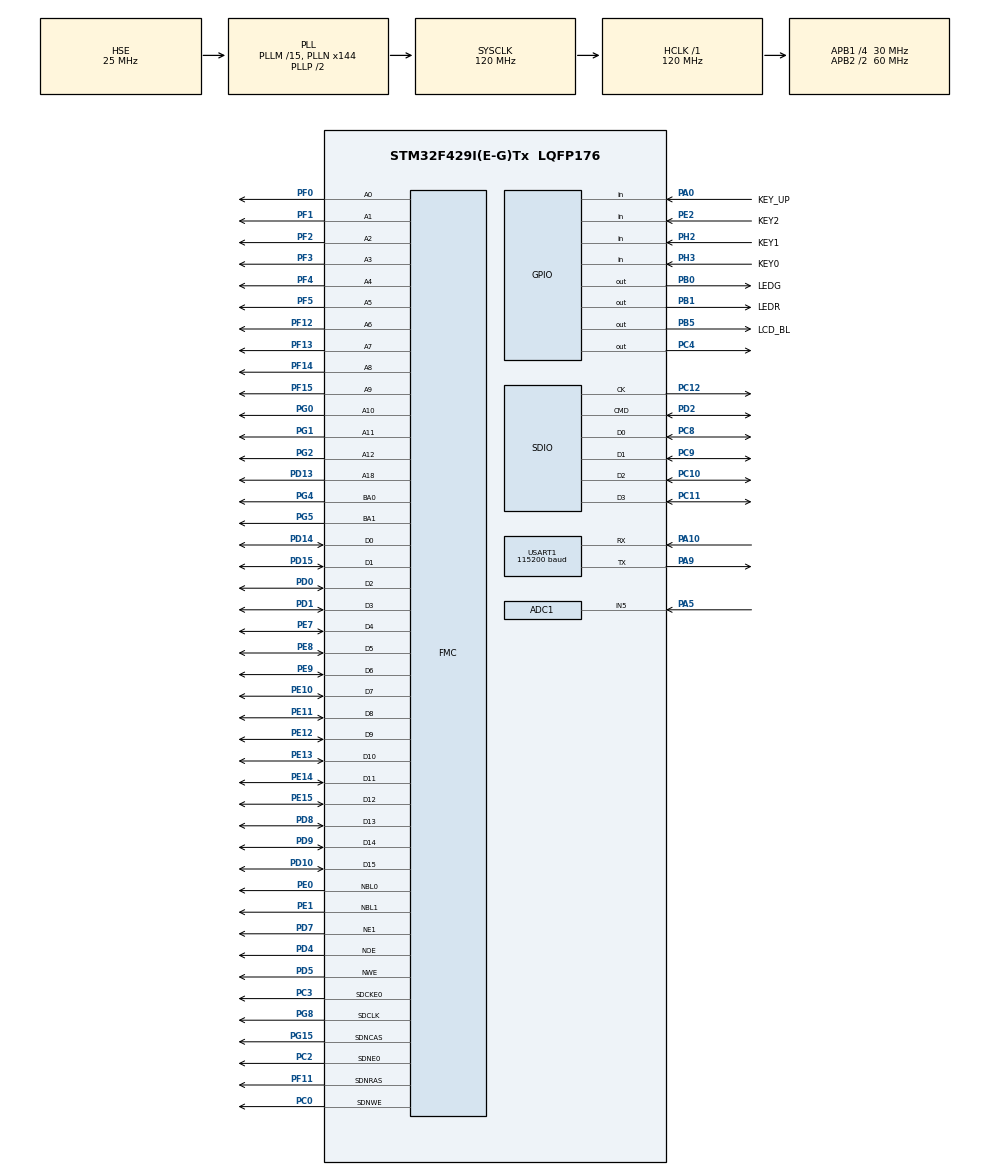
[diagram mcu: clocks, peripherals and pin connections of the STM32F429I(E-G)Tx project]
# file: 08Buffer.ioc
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ADC1.Channel-0\#ChannelRegularConversion=ADC_CHANNEL_5
ADC1.ExternalTrigConv=ADC_EXTERNALTRIGCONV_T3_TRGO
ADC1.NbrOfConversionFlag=1
ADC1.Rank-0\#ChannelRegularConversion=1
ADC1.SamplingTime-0\#ChannelRegularConversion=ADC_SAMPLETIME_15CYCLES
ADC1.master=1
DMA2D.AlphaModeForeground=DMA2D_REPLACE_ALPHA
DMA2D.ColorMode=DMA2D_OUTPUT_RGB565
DMA2D.InputColorModeBackground=DMA2D_INPUT_RGB565
DMA2D.InputColorModeForeground=DMA2D_INPUT_A4
DMA2D.Mode=DMA2D_M2M_BLEND
Dma.MEMTOMEM.0.Direction=DMA_MEMORY_TO_MEMORY
Dma.MEMTOMEM.0.FIFOMode=DMA_FIFOMODE_ENABLE
Dma.MEMTOMEM.0.FIFOThreshold=DMA_FIFO_THRESHOLD_FULL
Dma.MEMTOMEM.0.Instance=DMA2_Stream0
Dma.MEMTOMEM.0.MemBurst=DMA_MBURST_SINGLE
Dma.MEMTOMEM.0.MemDataAlignment=DMA_MDATAALIGN_HALFWORD
Dma.MEMTOMEM.0.MemInc=DMA_MINC_DISABLE
Dma.MEMTOMEM.0.Mode=DMA_NORMAL
Dma.MEMTOMEM.0.PeriphBurst=DMA_PBURST_SINGLE
Dma.MEMTOMEM.0.PeriphDataAlignment=DMA_PDATAALIGN_HALFWORD
Dma.MEMTOMEM.0.PeriphInc=DMA_PINC_ENABLE
Dma.MEMTOMEM.0.Priority=DMA_PRIORITY_LOW
Dma.Request0=MEMTOMEM
Dma.Request1=SDIO_RX
Dma.Request2=SDIO_TX
Dma.Request3=USART1_RX
Dma.SDIO_RX.1.Direction=DMA_PERIPH_TO_MEMORY
Dma.SDIO_RX.1.FIFOMode=DMA_FIFOMODE_ENABLE
Dma.SDIO_RX.1.FIFOThreshold=DMA_FIFO_THRESHOLD_FULL
Dma.SDIO_RX.1.Instance=DMA2_Stream3
Dma.SDIO_RX.1.MemBurst=DMA_MBURST_INC4
Dma.SDIO_RX.1.MemDataAlignment=DMA_MDATAALIGN_WORD
Dma.SDIO_RX.1.MemInc=DMA_MINC_ENABLE
Dma.SDIO_RX.1.Mode=DMA_PFCTRL
Dma.SDIO_RX.1.PeriphBurst=DMA_PBURST_INC4
Dma.SDIO_RX.1.PeriphDataAlignment=DMA_PDATAALIGN_WORD
Dma.SDIO_RX.1.PeriphInc=DMA_PINC_DISABLE
Dma.SDIO_RX.1.Priority=DMA_PRIORITY_HIGH
Dma.SDIO_TX.2.Direction=DMA_MEMORY_TO_PERIPH
Dma.SDIO_TX.2.FIFOMode=DMA_FIFOMODE_ENABLE
Dma.SDIO_TX.2.FIFOThreshold=DMA_FIFO_THRESHOLD_FULL
Dma.SDIO_TX.2.Instance=DMA2_Stream6
Dma.SDIO_TX.2.MemBurst=DMA_MBURST_INC4
Dma.SDIO_TX.2.MemDataAlignment=DMA_MDATAALIGN_WORD
Dma.SDIO_TX.2.MemInc=DMA_MINC_ENABLE
Dma.SDIO_TX.2.Mode=DMA_PFCTRL
Dma.SDIO_TX.2.PeriphBurst=DMA_PBURST_INC4
Dma.SDIO_TX.2.PeriphDataAlignment=DMA_PDATAALIGN_WORD
Dma.SDIO_TX.2.PeriphInc=DMA_PINC_DISABLE
Dma.SDIO_TX.2.Priority=DMA_PRIORITY_HIGH
Dma.USART1_RX.3.Direction=DMA_PERIPH_TO_MEMORY
Dma.USART1_RX.3.FIFOMode=DMA_FIFOMODE_DISABLE
Dma.USART1_RX.3.Instance=DMA2_Stream2
Dma.USART1_RX.3.MemDataAlignment=DMA_MDATAALIGN_BYTE
Dma.USART1_RX.3.MemInc=DMA_MINC_ENABLE
Dma.USART1_RX.3.Mode=DMA_NORMAL
Dma.USART1_RX.3.PeriphDataAlignment=DMA_PDATAALIGN_BYTE
Dma.USART1_RX.3.PeriphInc=DMA_PINC_DISABLE
Dma.USART1_RX.3.Priority=DMA_PRIORITY_LOW
FATFS._CODE_PAGE=936
FATFS._FS_EXFAT=1
FATFS._FS_LOCK=10
FATFS._FS_REENTRANT=1
FATFS._FS_TINY=1
FATFS._LFN_UNICODE=1
FATFS._MAX_SS=4096
FATFS._USE_LFN=3
FATFS._USE_MUTEX=1
FMC.CASLatency1=FMC_SDRAM_CAS_LATENCY_2
FMC.ColumnBitsNumber1=FMC_SDRAM_COLUMN_BITS_NUM_9
FMC.ExitSelfRefreshDelay1=7
FMC.LoadToActiveDelay1=2
FMC.RPDelay1=2
FMC.RPDelay2=2
FMC.ReadBurst1=FMC_SDRAM_RBURST_ENABLE
FMC.ReadBurst2=FMC_SDRAM_RBURST_ENABLE
FMC.RowCycleDelay1=6
FMC.RowCycleDelay2=6
FMC.SDClockPeriod1=FMC_SDRAM_CLOCK_PERIOD_2
FMC.SDClockPeriod2=FMC_SDRAM_CLOCK_PERIOD_2
FMC.SelfRefreshTime1=4
FMC.WriteRecoveryTime1=2
FREERTOS.Events01=xSystemInitEventGroup,Dynamic,NULL;xAppStartEventGroup,Dynamic,NULL
FREERTOS.Mutexes01=DMA2D_Mutex,Dynamic,NULL,Available
FREERTOS.Tasks01=Task_SYS_INIT,48,1024,AppTask_SYS_INIT,As weak,NULL,Dynamic,NULL,NULL;Task_showADC,8,256,App_Task_showADC,Default,NULL,Dynamic,NULL,NULL;Task_CheckIn,8,512,App_Task_CheckIn,Default,NULL,Dynamic,NULL,NULL;Task_Crypto,24,256,AppTask_Crypto,Default,NULL,Static,Task_CryptoBuffer,Task_CryptoControlBlock
FREERTOS.configGENERATE_RUN_TIME_STATS=1
FREERTOS.configUSE_STATS_FORMATTING_FUNCTIONS=1
MBEDTLS.MBEDTLS_X509_USE_C=0
Mcu.Family=STM32F4
Mcu.Name=STM32F429I(E-G)Tx
Mcu.Package=LQFP176
NVIC.ADC_IRQn=true\:5\:0\:false\:false\:true\:true\:true\:true\:true
NVIC.DMA2D_IRQn=true\:5\:0\:false\:false\:true\:true\:true\:true\:true
NVIC.DMA2_Stream0_IRQn=true\:5\:0\:false\:false\:true\:true\:true\:true\:true
NVIC.DMA2_Stream2_IRQn=true\:5\:0\:false\:false\:true\:true\:false\:true\:true
NVIC.DMA2_Stream3_IRQn=true\:5\:0\:true\:false\:true\:true\:false\:true\:true
NVIC.DMA2_Stream6_IRQn=true\:5\:0\:false\:false\:true\:true\:false\:true\:true
NVIC.PriorityGroup=NVIC_PRIORITYGROUP_4
NVIC.RTC_WKUP_IRQn=true\:5\:0\:false\:false\:true\:true\:true\:true\:true
NVIC.SDIO_IRQn=true\:5\:0\:false\:false\:true\:true\:true\:true\:true
NVIC.TIM6_DAC_IRQn=true\:4\:0\:true\:false\:true\:false\:false\:true\:true
NVIC.TimeBase=TIM6_DAC_IRQn
NVIC.TimeBaseIP=TIM6
NVIC.USART1_IRQn=true\:5\:0\:false\:false\:true\:true\:true\:true\:true
PA0/WKUP.GPIO_Label=KEY_UP
PA0/WKUP.Signal=GPIO_Input
PA10.Mode=Asynchronous
PA10.Signal=USART1_RX
PA13.Mode=Serial_Wire
PA13.Signal=SYS_JTMS-SWDIO
PA14.Mode=Serial_Wire
PA14.Signal=SYS_JTCK-SWCLK
PA5.Signal=ADCx_IN5
PA9.Mode=Asynchronous
PA9.Signal=USART1_TX
PB0.GPIO_Label=LEDG
PB0.Signal=GPIO_Output
PB1.GPIO_Label=LEDR
PB1.PinState=GPIO_PIN_SET
PB1.Signal=GPIO_Output
PB5.GPIO_Label=LCD_BL
PB5.GPIO_Speed=GPIO_SPEED_FREQ_HIGH
PB5.PinState=GPIO_PIN_SET
PB5.Signal=GPIO_Output
PC0.Signal=FMC_SDNWE
PC10.Mode=SD_4_bits_Wide_bus
PC10.Signal=SDIO_D2
PC11.Mode=SD_4_bits_Wide_bus
PC11.Signal=SDIO_D3
PC12.Mode=SD_4_bits_Wide_bus
PC12.Signal=SDIO_CK
PC14/OSC32_IN.Mode=LSE-External-Oscillator
PC14/OSC32_IN.Signal=RCC_OSC32_IN
PC15/OSC32_OUT.Mode=LSE-External-Oscillator
PC15/OSC32_OUT.Signal=RCC_OSC32_OUT
PC2.Mode=SdramChipSelect1_1
PC2.Signal=FMC_SDNE0
PC3.Mode=SdramChipSelect1_1
PC3.Signal=FMC_SDCKE0
PC4.Signal=GPIO_Output
PC8.Mode=SD_4_bits_Wide_bus
PC8.Signal=SDIO_D0
PC9.Mode=SD_4_bits_Wide_bus
PC9.Signal=SDIO_D1
PD0.Signal=FMC_D2_DA2
PD1.Signal=FMC_D3_DA3
PD10.Signal=FMC_D15_DA15
PD13.Signal=FMC_A18
PD14.Signal=FMC_D0_DA0
PD15.Signal=FMC_D1_DA1
PD2.Mode=SD_4_bits_Wide_bus
PD2.Signal=SDIO_CMD
PD4.Signal=FMC_NOE
PD5.Signal=FMC_NWE
PD7.Mode=NorPsramChipSelect1_1
PD7.Signal=FMC_NE1
PD8.Signal=FMC_D13_DA13
PD9.Signal=FMC_D14_DA14
PE0.Signal=FMC_NBL0
PE1.Signal=FMC_NBL1
PE10.Signal=FMC_D7_DA7
PE11.Signal=FMC_D8_DA8
PE12.Signal=FMC_D9_DA9
PE13.Signal=FMC_D10_DA10
PE14.Signal=FMC_D11_DA11
PE15.Signal=FMC_D12_DA12
PE2.GPIO_Label=KEY2
PE2.Signal=GPIO_Input
PE7.Signal=FMC_D4_DA4
PE8.Signal=FMC_D5_DA5
PE9.Signal=FMC_D6_DA6
PF0.Signal=FMC_A0
PF1.Signal=FMC_A1
PF11.Signal=FMC_SDNRAS
PF12.Signal=FMC_A6
PF13.Signal=FMC_A7
PF14.Signal=FMC_A8
PF15.Signal=FMC_A9
PF2.Signal=FMC_A2
PF3.Signal=FMC_A3
PF4.Signal=FMC_A4
PF5.Signal=FMC_A5
PG0.Signal=FMC_A10
PG1.Signal=FMC_A11
PG15.Signal=FMC_SDNCAS
PG2.Signal=FMC_A12
PG4.Signal=FMC_A14_BA0
PG5.Signal=FMC_A15_BA1
PG8.Signal=FMC_SDCLK
PH0/OSC_IN.Mode=HSE-External-Oscillator
PH0/OSC_IN.Signal=RCC_OSC_IN
PH1/OSC_OUT.Mode=HSE-External-Oscillator
PH1/OSC_OUT.Signal=RCC_OSC_OUT
PH2.GPIO_Label=KEY1
PH2.Signal=GPIO_Input
PH3.GPIO_Label=KEY0
PH3.Signal=GPIO_Input
ProjectManager.HeapSize=0x8000
ProjectManager.StackSize=0x2000
ProjectManager.TargetToolchain=CMake
RCC.48MHZClocksFreq_Value=48000000
RCC.AHBFreq_Value=120000000
RCC.APB1CLKDivider=RCC_HCLK_DIV4
RCC.APB1Freq_Value=30000000
RCC.APB1TimFreq_Value=60000000
RCC.APB2CLKDivider=RCC_HCLK_DIV2
RCC.APB2Freq_Value=60000000
RCC.APB2TimFreq_Value=120000000
RCC.CortexFreq_Value=120000000
RCC.HCLKFreq_Value=120000000
RCC.HSE_VALUE=25000000
RCC.HSI_VALUE=16000000
RCC.PLLM=15
RCC.PLLN=144
RCC.PLLQ=5
RCC.PLLSAIN=100
RCC.PLLSourceVirtual=RCC_PLLSOURCE_HSE
RCC.RCC_RTC_Clock_Source=RCC_RTCCLKSOURCE_LSE
RCC.RCC_RTC_Clock_SourceVirtual=RCC_RTCCLKSOURCE_LSE
RCC.SYSCLKFreq_VALUE=120000000
RCC.SYSCLKSource=RCC_SYSCLKSOURCE_PLLCLK
RCC.VCOOutputFreq_Value=240000000
RTC.WakeUpClock=RTC_WAKEUPCLOCK_CK_SPRE_16BITS
RTC.WakeUpCounter=0
SDIO.ClockDiv=4
SH.ADCx_IN5.0=ADC1_IN5,IN5
SH.FMC_A0.0=FMC_A0,13b-sda1
SH.FMC_A1.0=FMC_A1,13b-sda1
SH.FMC_A10.0=FMC_A10,13b-sda1
SH.FMC_A11.0=FMC_A11,13b-sda1
SH.FMC_A12.0=FMC_A12,13b-sda1
SH.FMC_A14_BA0.0=FMC_BA0,FourSdramBanks1
SH.FMC_A15_BA1.0=FMC_BA1,FourSdramBanks1
SH.FMC_A18.0=FMC_A18,A18_1
SH.FMC_A2.0=FMC_A2,13b-sda1
SH.FMC_A3.0=FMC_A3,13b-sda1
SH.FMC_A4.0=FMC_A4,13b-sda1
SH.FMC_A5.0=FMC_A5,13b-sda1
SH.FMC_A6.0=FMC_A6,13b-sda1
SH.FMC_A7.0=FMC_A7,13b-sda1
SH.FMC_A8.0=FMC_A8,13b-sda1
SH.FMC_A9.0=FMC_A9,13b-sda1
SH.FMC_D0_DA0.0=FMC_D0,16b-d1
SH.FMC_D0_DA0.1=FMC_D0,sd-16b-d1
SH.FMC_D10_DA10.0=FMC_D10,16b-d1
SH.FMC_D10_DA10.1=FMC_D10,sd-16b-d1
SH.FMC_D11_DA11.0=FMC_D11,16b-d1
SH.FMC_D11_DA11.1=FMC_D11,sd-16b-d1
SH.FMC_D12_DA12.0=FMC_D12,16b-d1
SH.FMC_D12_DA12.1=FMC_D12,sd-16b-d1
SH.FMC_D13_DA13.0=FMC_D13,16b-d1
SH.FMC_D13_DA13.1=FMC_D13,sd-16b-d1
SH.FMC_D14_DA14.0=FMC_D14,16b-d1
SH.FMC_D14_DA14.1=FMC_D14,sd-16b-d1
SH.FMC_D15_DA15.0=FMC_D15,16b-d1
SH.FMC_D15_DA15.1=FMC_D15,sd-16b-d1
SH.FMC_D1_DA1.0=FMC_D1,16b-d1
SH.FMC_D1_DA1.1=FMC_D1,sd-16b-d1
SH.FMC_D2_DA2.0=FMC_D2,16b-d1
SH.FMC_D2_DA2.1=FMC_D2,sd-16b-d1
SH.FMC_D3_DA3.0=FMC_D3,16b-d1
SH.FMC_D3_DA3.1=FMC_D3,sd-16b-d1
SH.FMC_D4_DA4.0=FMC_D4,16b-d1
SH.FMC_D4_DA4.1=FMC_D4,sd-16b-d1
SH.FMC_D5_DA5.0=FMC_D5,16b-d1
SH.FMC_D5_DA5.1=FMC_D5,sd-16b-d1
SH.FMC_D6_DA6.0=FMC_D6,16b-d1
SH.FMC_D6_DA6.1=FMC_D6,sd-16b-d1
SH.FMC_D7_DA7.0=FMC_D7,16b-d1
SH.FMC_D7_DA7.1=FMC_D7,sd-16b-d1
SH.FMC_D8_DA8.0=FMC_D8,16b-d1
SH.FMC_D8_DA8.1=FMC_D8,sd-16b-d1
SH.FMC_D9_DA9.0=FMC_D9,16b-d1
SH.FMC_D9_DA9.1=FMC_D9,sd-16b-d1
SH.FMC_NBL0.0=FMC_NBL0,Sd2ByteEnable1
SH.FMC_NBL1.0=FMC_NBL1,Sd2ByteEnable1
SH.FMC_NOE.0=FMC_NOE,Lcd1
SH.FMC_NWE.0=FMC_NWE,Lcd1
SH.FMC_SDCLK.0=FMC_SDCLK,13b-sda1
SH.FMC_SDNCAS.0=FMC_SDNCAS,13b-sda1
SH.FMC_SDNRAS.0=FMC_SDNRAS,13b-sda1
SH.FMC_SDNWE.0=FMC_SDNWE,13b-sda1
TIM3.Period=5000-1
TIM3.Prescaler=6000-1
TIM3.TIM_MasterOutputTrigger=TIM_TRGO_UPDATE
USART1.BaudRate=115200
USART1.VirtualMode=VM_ASYNC
VP_DMA2D_VS_DMA2D.Mode=DMA2D_Activate
VP_FATFS_VS_SDIO.Mode=SDIO
VP_FREERTOS_VS_CMSIS_V2.Mode=CMSIS_V2
VP_MBEDTLS_VS_MBEDTLS.Mode=Enabled
VP_RNG_VS_RNG.Mode=RNG_Activate
VP_RTC_VS_RTC_Activate.Mode=RTC_Enabled
VP_RTC_VS_RTC_WakeUp_intern.Mode=WakeUp
VP_SYS_VS_tim6.Mode=TIM6
VP_TIM3_VS_ClockSourceINT.Mode=Internal
board=custom

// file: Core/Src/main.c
/* USER CODE BEGIN Header */
/**
  ******************************************************************************
  * @file           : main.c
  * @brief          : Main program body
  ******************************************************************************
  * @attention
  *
  * Copyright (c) 2026 STMicroelectronics.
  * All rights reserved.
  *
  * This software is licensed under terms that can be found in the LICENSE file
  * in the root directory of this software component.
  * If no LICENSE file comes with this software, it is provided AS-IS.
  *
  ******************************************************************************
  */
/* USER CODE END Header */
#include "main.h"
#include "cmsis_os.h"
#include "adc.h"
#include "dma.h"
#include "dma2d.h"
#include "fatfs.h"
#include "mbedtls.h"
#include "rng.h"
#include "rtc.h"
#include "sdio.h"
#include "tim.h"
#include "usart.h"
#include "gpio.h"
#include "fmc.h"

/* USER CODE BEGIN Includes */
#include "../../ThirdParty/MyLib/myinclude.h"
/* USER CODE END Includes */

void SystemClock_Config(void);
void MX_FREERTOS_Init(void);

int main(void)
{

  /* MCU Configuration--------------------------------------------------------*/

  /* Reset of all peripherals, Initializes the Flash interface and the Systick. */
  HAL_Init();

  /* Configure the system clock */
  SystemClock_Config();

  /* Initialize all configured peripherals */
  MX_GPIO_Init();
  MX_DMA_Init();
  MX_FMC_Init();
  MX_DMA2D_Init();
  MX_SDIO_SD_Init();
  MX_FATFS_Init();
  MX_ADC1_Init();
  MX_TIM3_Init();
  MX_RTC_Init();
  MX_USART1_UART_Init();
  MX_RNG_Init();
  /* Call PreOsInit function */
  MX_MBEDTLS_Init();
  /* USER CODE BEGIN 2 */
  //初始化内容在myfreertos.c的AppTask_SYS_INIT任务中实现

  /* USER CODE END 2 */

  /* Init scheduler */
  osKernelInitialize();  /* Call init function for freertos objects (in cmsis_os2.c) */
  MX_FREERTOS_Init();

  /* Start scheduler */
  osKernelStart();

  /* We should never get here as control is now taken by the scheduler */

  /* Infinite loop */
  while (1)
  {

  }
}

void SystemClock_Config(void)
{
  RCC_OscInitTypeDef RCC_OscInitStruct = {0};
  RCC_ClkInitTypeDef RCC_ClkInitStruct = {0};

  /** Configure the main internal regulator output voltage
  */
  __HAL_RCC_PWR_CLK_ENABLE();
  __HAL_PWR_VOLTAGESCALING_CONFIG(PWR_REGULATOR_VOLTAGE_SCALE3);

  /** Initializes the RCC Oscillators according to the specified parameters
  * in the RCC_OscInitTypeDef structure.
  */
  RCC_OscInitStruct.OscillatorType = RCC_OSCILLATORTYPE_HSE|RCC_OSCILLATORTYPE_LSE;
  RCC_OscInitStruct.HSEState = RCC_HSE_ON;
  RCC_OscInitStruct.LSEState = RCC_LSE_ON;
  RCC_OscInitStruct.PLL.PLLState = RCC_PLL_ON;
  RCC_OscInitStruct.PLL.PLLSource = RCC_PLLSOURCE_HSE;
  RCC_OscInitStruct.PLL.PLLM = 15;
  RCC_OscInitStruct.PLL.PLLN = 144;
  RCC_OscInitStruct.PLL.PLLP = RCC_PLLP_DIV2;
  RCC_OscInitStruct.PLL.PLLQ = 5;
  if (HAL_RCC_OscConfig(&RCC_OscInitStruct) != HAL_OK)
  {
    Error_Handler();
  }

  /** Initializes the CPU, AHB and APB buses clocks
  */
  RCC_ClkInitStruct.ClockType = RCC_CLOCKTYPE_HCLK|RCC_CLOCKTYPE_SYSCLK
                              |RCC_CLOCKTYPE_PCLK1|RCC_CLOCKTYPE_PCLK2;
  RCC_ClkInitStruct.SYSCLKSource = RCC_SYSCLKSOURCE_PLLCLK;
  RCC_ClkInitStruct.AHBCLKDivider = RCC_SYSCLK_DIV1;
  RCC_ClkInitStruct.APB1CLKDivider = RCC_HCLK_DIV4;
  RCC_ClkInitStruct.APB2CLKDivider = RCC_HCLK_DIV2;

  if (HAL_RCC_ClockConfig(&RCC_ClkInitStruct, FLASH_LATENCY_3) != HAL_OK)
  {
    Error_Handler();
  }
}

void HAL_TIM_PeriodElapsedCallback(TIM_HandleTypeDef *htim)
{
  if (htim->Instance == TIM6)
  {
    HAL_IncTick();
  }
}

void Error_Handler(void)
{
  __disable_irq();
  while (1)
  {
  }
}

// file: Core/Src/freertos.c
/* USER CODE BEGIN Header */
/**
  ******************************************************************************
  * File Name          : freertos.c
  * Description        : Code for freertos applications
  ******************************************************************************
  * @attention
  *
  * Copyright (c) 2026 STMicroelectronics.
  * All rights reserved.
  *
  * This software is licensed under terms that can be found in the LICENSE file
  * in the root directory of this software component.
  * If no LICENSE file comes with this software, it is provided AS-IS.
  *
  ******************************************************************************
  */
/* USER CODE END Header */

#include "FreeRTOS.h"
#include "task.h"
#include "main.h"
#include "cmsis_os.h"

/* USER CODE BEGIN Includes */
#include "../../ThirdParty/MyLib/myinclude.h"
#include "rtc.h"
#include "semphr.h"
#include "stream_buffer.h"
#include "message_buffer.h"
#include "event_groups.h"
#include <stdint.h>
#include <stdio.h>
#include <sys/_intsup.h>
#include <sys/types.h>
#include "sodium.h"
#include "string.h"
#include "rng.h"

/* USER CODE END Includes */

typedef StaticTask_t osStaticThreadDef_t;

/* USER CODE BEGIN Variables */
extern RNG_HandleTypeDef hrng;
// 加密数据流缓冲区句柄
StreamBufferHandle_t xCryptoStreamBuffer = NULL;
MessageBufferHandle_t xKeyMessageBuffer = NULL;
/* USER CODE END Variables */
/* Definitions for Task_SYS_INIT */
osThreadId_t Task_SYS_INITHandle;
const osThreadAttr_t Task_SYS_INIT_attributes = {
  .name = "Task_SYS_INIT",
  .stack_size = 1024 * 4,
  .priority = (osPriority_t) osPriorityRealtime,
};
/* Definitions for Task_showADC */
osThreadId_t Task_showADCHandle;
const osThreadAttr_t Task_showADC_attributes = {
  .name = "Task_showADC",
  .stack_size = 256 * 4,
  .priority = (osPriority_t) osPriorityLow,
};
/* Definitions for Task_CheckIn */
osThreadId_t Task_CheckInHandle;
const osThreadAttr_t Task_CheckIn_attributes = {
  .name = "Task_CheckIn",
  .stack_size = 512 * 4,
  .priority = (osPriority_t) osPriorityLow,
};
/* Definitions for Task_Crypto */
osThreadId_t Task_CryptoHandle;
uint32_t Task_CryptoBuffer[ 256 ];
osStaticThreadDef_t Task_CryptoControlBlock;
const osThreadAttr_t Task_Crypto_attributes = {
  .name = "Task_Crypto",
  .cb_mem = &Task_CryptoControlBlock,
  .cb_size = sizeof(Task_CryptoControlBlock),
  .stack_mem = &Task_CryptoBuffer[0],
  .stack_size = sizeof(Task_CryptoBuffer),
  .priority = (osPriority_t) osPriorityNormal,
};
/* Definitions for DMA2D_Mutex */
osMutexId_t DMA2D_MutexHandle;
const osMutexAttr_t DMA2D_Mutex_attributes = {
  .name = "DMA2D_Mutex"
};
/* Definitions for xSystemInitEventGroup */
osEventFlagsId_t xSystemInitEventGroupHandle;
const osEventFlagsAttr_t xSystemInitEventGroup_attributes = {
  .name = "xSystemInitEventGroup"
};
/* Definitions for xAppStartEventGroup */
osEventFlagsId_t xAppStartEventGroupHandle;
const osEventFlagsAttr_t xAppStartEventGroup_attributes = {
  .name = "xAppStartEventGroup"
};

void AppTask_SYS_INIT(void *argument);
void App_Task_showADC(void *argument);
void App_Task_CheckIn(void *argument);
void AppTask_Crypto(void *argument);

void MX_FREERTOS_Init(void); /* (MISRA C 2004 rule 8.1) */

/* Hook prototypes */
void configureTimerForRunTimeStats(void);
unsigned long getRunTimeCounterValue(void);

/* USER CODE BEGIN 1 */
/* Functions needed when configGENERATE_RUN_TIME_STATS is on */
__weak void configureTimerForRunTimeStats(void)
{

}

__weak unsigned long getRunTimeCounterValue(void)
{
return 0;
}
/* USER CODE END 1 */

void MX_FREERTOS_Init(void) {
  /* USER CODE BEGIN Init */
  //创建加密数据流缓冲区
  xCryptoStreamBuffer = xStreamBufferCreate(1024, 1);
  //创建按键消息缓冲区
  xKeyMessageBuffer = xMessageBufferCreate(256);
  /* USER CODE END Init */
  /* Create the mutex(es) */
  /* creation of DMA2D_Mutex */
  DMA2D_MutexHandle = osMutexNew(&DMA2D_Mutex_attributes);

  /* Create the thread(s) */
  /* creation of Task_SYS_INIT */
  Task_SYS_INITHandle = osThreadNew(AppTask_SYS_INIT, NULL, &Task_SYS_INIT_attributes);

  /* creation of Task_showADC */
  Task_showADCHandle = osThreadNew(App_Task_showADC, NULL, &Task_showADC_attributes);

  /* creation of Task_CheckIn */
  Task_CheckInHandle = osThreadNew(App_Task_CheckIn, NULL, &Task_CheckIn_attributes);

  /* creation of Task_Crypto */
  Task_CryptoHandle = osThreadNew(AppTask_Crypto, NULL, &Task_Crypto_attributes);

  /* creation of xSystemInitEventGroup */
  xSystemInitEventGroupHandle = osEventFlagsNew(&xSystemInitEventGroup_attributes);

  /* creation of xAppStartEventGroup */
  xAppStartEventGroupHandle = osEventFlagsNew(&xAppStartEventGroup_attributes);

}

__weak void AppTask_SYS_INIT(void *argument)
{
  for(;;)
  {
    osDelay(1);
  }
}

void App_Task_showADC(void *argument)
{
  /* USER CODE BEGIN App_Task_showADC */
  //等待ADC初始化完成、定时器3初始化完成、SD卡挂载完成、EUBF初始化完成、DMA2D初始化完成、LCD初始化完成
  xEventGroupWaitBits(xSystemInitEventGroupHandle,
                        SYSTEM_INIT_EVENT_ADC_READY |
                        SYSTEM_INIT_EVENT_TIM3_READY |
                        SYSTEM_INIT_EVENT_SD_MOUNTED |
                        SYSTEM_INIT_EVENT_EUBF_READY |
                        SYSTEM_INIT_EVENT_DMA2D_READY |
                        SYSTEM_INIT_EVENT_LCD_READY,
                        pdFALSE,
                        pdTRUE,
                        portMAX_DELAY);

  xSemaphoreTake(DMA2D_MutexHandle, portMAX_DELAY);
  lcd_dma2d_show_eubf_str(0, 32,(char*)"ADC Value:", "BoutiqueBitmap7x7_Circle_Dot", 30, WHITE);
  lcd_dma2d_update_screen();
  xSemaphoreGive(DMA2D_MutexHandle);
  uint32_t show_adc_value = 0;
  // 等待应用启动完成
  xEventGroupSync(xAppStartEventGroupHandle,
                  1 << 0, // APP_START_EVENT_SHOW_ADC_READY
                  (1 << 0)|(1 << 1), // APP_START_EVENT_SHOW_ADC_READY | APP_START_EVENT_SHOW_CHECKIN_READY
                  portMAX_DELAY);
  /* Infinite loop */
  for(;;)
  {
    // 等待数据准备就绪
    if(xTaskNotifyWait(0, 0XFFFFFFFF, &show_adc_value, portMAX_DELAY) == pdTRUE){

      xSemaphoreTake(DMA2D_MutexHandle, portMAX_DELAY); // 先拿锁

      if(show_adc_value == 0xFFFFFFFF) {
          // --- 处理错误情况 ---
          static uint8_t error_count = 0;
          error_count++;
          char adc_err_str[30];
          snprintf(adc_err_str, sizeof(adc_err_str), "ADC Error: %d", error_count);

          lcd_dma2d_fill(0, 96, 160, 128, BLACK);
          lcd_dma2d_show_eubf_str(0, 96, adc_err_str, "BoutiqueBitmap7x7_Circle_Dot", 32, RED);
      } else {
          // --- 处理正常情况 ---
          char adc_str[20];
          snprintf(adc_str, sizeof(adc_str), "%04lu", show_adc_value);
          uint16_t rgb565 = (uint16_t)((((show_adc_value >> 8) & 0xF) * 0x21 << 10) | (((show_adc_value >> 4) & 0xF) * 0x44 << 4) | ((show_adc_value & 0xF) * 0x21 >> 4));

          lcd_dma2d_fill(0, 32, 160, 65, BLACK);
          lcd_dma2d_show_eubf_str(0, 64, adc_str, "BoutiqueBitmap7x7_Circle_Dot", 32, rgb565);
      }

      lcd_dma2d_update_screen();
      xSemaphoreGive(DMA2D_MutexHandle); // 后放锁

      osDelay(1);
    }
    osDelay(1);
  }
  /* USER CODE END App_Task_showADC */
}

void App_Task_CheckIn(void *argument)
{
  /* USER CODE BEGIN App_Task_CheckIn */
  //等待SD卡挂载完成、EUBF初始化完成、DMA2D初始化完成、LCD初始化完成
  xEventGroupWaitBits(xSystemInitEventGroupHandle,
                        SYSTEM_INIT_EVENT_SD_MOUNTED |
                        SYSTEM_INIT_EVENT_EUBF_READY |
                        SYSTEM_INIT_EVENT_DMA2D_READY |
                        SYSTEM_INIT_EVENT_LCD_READY,
                        pdFALSE,
                        pdTRUE,
                        portMAX_DELAY);

    char temp_str[30];
    UBaseType_t last_count = 0xFFFFFFFF;
    UBaseType_t current_count = 0;
    uint16_t latest_msg = 0;        // 记录最新一条消息内容
    uint16_t last_msg    = 0xFFFF;   // 追踪 latest_msg 变化以刷新二进制行

    osDelay(1500);

    // 等待应用启动完成
    xEventGroupSync(xAppStartEventGroupHandle,
                    1 << 1, // APP_START_EVENT_SHOW_CHECKIN_READY
                    (1 << 0)|(1 << 1), // APP_START_EVENT_SHOW_ADC_READY | APP_START_EVENT_SHOW_CHECKIN_READY
                    portMAX_DELAY);
    xSemaphoreTake(DMA2D_MutexHandle, portMAX_DELAY);
    // 第一行：Y=32 (0~32)
    lcd_dma2d_show_eubf_str(160, 32, (char*)"TOTAL_TABLE:", "BoutiqueBitmap7x7_Scan_Line", 22, YELLOW);
    // 第二行：Y=64 (32~64)
    lcd_dma2d_show_eubf_str(160, 64, "无限!∞!", "BoutiqueBitmap7x7_Scan_Line", 32, GREEN);
    // 第三行：Y=96 (64~96)
    lcd_dma2d_show_eubf_str(160, 96, (char*)"AVAILABLE:", "BoutiqueBitmap7x7_Scan_Line", 24, RED);

    // 第一次推送到屏幕
    lcd_dma2d_update_screen();
    xSemaphoreGive(DMA2D_MutexHandle);

        /* Infinite loop */
    for(;;)
    {
      // ==========================================
      // 实时读取 ISR 累积的任务通知增量（非阻塞）
      // ==========================================
      {
        uint32_t notify_increment;
        if(xTaskNotifyWait(0, 0xFFFFFFFF, &notify_increment, 0) == pdTRUE){
          current_count += notify_increment;
        }
      }

      // ==========================================
      // 实时从消息缓冲区收取数据（非阻塞），只保留最新值
      // ==========================================
      {
        uint16_t rtc_msg;
        while(xMessageBufferReceive(xKeyMessageBuffer, &rtc_msg, sizeof(rtc_msg), 0) > 0){
          latest_msg = rtc_msg;
        }
      }

      // ==========================================
      // 每 20ms：检查按键
      // ==========================================
      if(myGetKeyPressStateByID(KEY_UP)){
        xSemaphoreTake(DMA2D_MutexHandle, portMAX_DELAY);
        // 清除第五行 OK/FAIL 区域 (Y=160 是下边界, size=24 文字占据 Y=136~160)
        lcd_dma2d_fill(160, 128, 320, 161, BLACK);

        if(current_count > 0)
        {
          // 签到成功
          current_count--;
          char checkin_str[30];
          snprintf(checkin_str, sizeof(checkin_str), "OK:%04X", latest_msg);
          lcd_dma2d_show_eubf_str(160, 160, checkin_str, "BoutiqueBitmap7x7_Scan_Line", 24, GREEN);
        }
        else
        {
          // 签到失败（无待签到计数）
          char fail_str[30];
          snprintf(fail_str, sizeof(fail_str), "FAIL:%04X", latest_msg);
          lcd_dma2d_show_eubf_str(160, 160, fail_str, "BoutiqueBitmap7x7_Scan_Line", 24, RED);
        }

                lcd_dma2d_update_screen();
        xSemaphoreGive(DMA2D_MutexHandle);
      }

      // ==========================================
      // latest_msg 变化立即清除旧值并刷新二进制行
      // ==========================================
      if(latest_msg != last_msg)
      {
        xSemaphoreTake(DMA2D_MutexHandle, portMAX_DELAY);

        // 清除二进制行（Y=192 下边界, size=8 占据 184~192, 多清一些确保覆盖残留像素）
        lcd_dma2d_fill(160, 176, 320, 193, BLACK);

        for(int i = 0; i < 16; i++) {
          uint8_t bit = (latest_msg >> (15 - i)) & 0x01;
          char bit_char[2] = { bit ? '1' : '0', '\0' };
          uint16_t color = bit ? GREEN : RED;
          lcd_dma2d_show_eubf_str(160 + i * 8, 192, bit_char, "3x3等宽monospace", 8, color);
        }

        lcd_dma2d_update_screen();
        xSemaphoreGive(DMA2D_MutexHandle);
        last_msg = latest_msg;
      }

      // ==========================================
      // 每次循环都检测 current_count 是否变化，变化立即刷新
      // ==========================================
      if(current_count != last_count)
      {
        sprintf(temp_str, "%lu", (unsigned long)current_count);

        // 清除第四行 (占据 Y=96~128)
        xSemaphoreTake(DMA2D_MutexHandle, portMAX_DELAY);
        lcd_dma2d_fill(160, 96, 320, 129, BLACK);
        // 绘制第四行数字
        lcd_dma2d_show_eubf_str(160, 128, temp_str, "BoutiqueBitmap7x7_Scan_Line", 32, current_count?GREEN:RED);

        lcd_dma2d_update_screen();
        xSemaphoreGive(DMA2D_MutexHandle);
        last_count = current_count;
      }

      osDelay(20);

  }
  /* USER CODE END App_Task_CheckIn */
}

/* USER CODE BEGIN Header_AppTask_Crypto */
/**
* @brief Function implementing the Task_Crypto thread.
* @param argument: Not used
* @retval None
*/

#include "mbedtls/base64.h" // 🌟 必须包含 mbedTLS 的 Base64 头文件
#define STREAM_TIMEOUT_MS 200 // 200ms 超时视为 EOF
/* USER CODE END Header_AppTask_Crypto */
void AppTask_Crypto(void *argument)
{
  /* USER CODE BEGIN AppTask_Crypto */

  xEventGroupWaitBits(xSystemInitEventGroupHandle,
                      SYSTEM_INIT_EVENT_SODIUM_READY |
                      SYSTEM_INIT_EVENT_USART1_READY ,
                      pdFALSE, pdTRUE, portMAX_DELAY);

  // mbedTLS 专用：3 个明文字节编码后是 4 个字符，加上 '\0' 一共需要 5 个字节
  unsigned char b64_chunk[5];
  size_t olen = 0; // 用于接收 mbedTLS 返回的实际编码长度

  uint8_t block[3];
  uint8_t block_len = 0;
  uint8_t is_receiving = 0;

  /* Infinite loop */
  for(;;)
  {
    uint8_t byte;
    // 阻塞等待流缓冲区的数据，每次读取 1 个字节
    size_t xReceivedBytes = xStreamBufferReceive(
      xCryptoStreamBuffer,
      &byte,
      1,
      pdMS_TO_TICKS(STREAM_TIMEOUT_MS)
    );

    // ==========================================
    // 读到了数据
    // ==========================================
    if (xReceivedBytes > 0)
    {
        if (!is_receiving) {
            printf("\r\n--- Streaming Base64 Encode (mbedTLS) ---\r\nText:\r\n");
            is_receiving = 1;
        }

        block[block_len] = byte;
        block_len++;

        // 凑满 3 个字节，立刻编码发走
        if (block_len == 3) {
            // 🌟 核心替换：调用 mbedTLS 的编码函数
            mbedtls_base64_encode(b64_chunk, sizeof(b64_chunk), &olen, block, 3);

            // mbedTLS 会自动在末尾添加 '\0'，所以可以直接用 %s 打印
            printf("%s", b64_chunk);
            block_len = 0;
        }
    }
    // ==========================================
    // 发生了超时 (200ms 内连 1 个字节都没收到) -> 数据流结束！
    // ==========================================
    else if (is_receiving)
    {
        // 处理最后不够 3 个字节的尾巴，生成带有 "=" 的 Base64
        if (block_len > 0) {
            // 🌟 核心替换：根据实际剩余的 block_len 进行编码
            mbedtls_base64_encode(b64_chunk, sizeof(b64_chunk), &olen, block, block_len);
            printf("%s", b64_chunk);
            block_len = 0;
        }

        printf("\r\n-------------------------------\r\n");
        UBaseType_t free_stack = uxTaskGetStackHighWaterMark(NULL);
        printf("AppTask_Crypto Free Stack High Water Mark: %lu\r\n", free_stack);
        is_receiving = 0; // 状态机复位
    }
  }
  /* USER CODE END AppTask_Crypto */
}

/* USER CODE BEGIN Application */
void HAL_ADC_ConvCpltCallback(ADC_HandleTypeDef *hadc){
  if(hadc->Instance == ADC1){
    // adc_value = HAL_ADC_GetValue(hadc);
    //printf("ADC Conversion Completed!\r\n");
    BaseType_t highter_priority_task_woken = pdFALSE;
    if(Task_showADCHandle != NULL){ // 确保任务句柄已创建
      // 直接将ADC值作为通知值发送给显示任务
      xTaskNotifyFromISR(Task_showADCHandle, HAL_ADC_GetValue(hadc), eSetValueWithOverwrite,&highter_priority_task_woken);
      portYIELD_FROM_ISR(highter_priority_task_woken);
    }

  }
}
void HAL_ADC_ErrorCallback(ADC_HandleTypeDef *hadc) {
    if(hadc->Instance == ADC1) {
        BaseType_t highter_priority_task_woken = pdFALSE;

        if(Task_showADCHandle != NULL){
            // 发送 0xFFFFFFFF 代表发生错误
            xTaskNotifyFromISR(Task_showADCHandle, 0xFFFFFFFF, eSetValueWithOverwrite, &highter_priority_task_woken);
            portYIELD_FROM_ISR(highter_priority_task_woken);
        }

        // 尝试清除错误并重启 ADC
        HAL_ADC_Start_IT(hadc);
    }
}

void HAL_RTCEx_WakeUpTimerEventCallback(RTC_HandleTypeDef *hrtc){
  // 发送任务通知增量 + 随机值到消息缓冲区
  if(xKeyMessageBuffer != NULL){ // 确保消息缓冲区已创建
    BaseType_t highter_priority_task_woken = pdFALSE;
    uint32_t rand_val;

    // 1. 将 App_Task_CheckIn 的任务通知值加 1
    if(Task_CheckInHandle != NULL){
      xTaskNotifyFromISR(Task_CheckInHandle, 1, eIncrement, &highter_priority_task_woken);
    }

    // 2. 用消息缓冲区发送一个随机值
    if(HAL_RNG_GenerateRandomNumber(&hrng, &rand_val) == HAL_OK){
      uint16_t msg_val = (uint16_t)(rand_val & 0xFFFF);
      xMessageBufferSendFromISR(xKeyMessageBuffer, &msg_val, sizeof(msg_val), &highter_priority_task_woken);
    }

    portYIELD_FROM_ISR(highter_priority_task_woken);
  }
}
/* USER CODE END Application */
